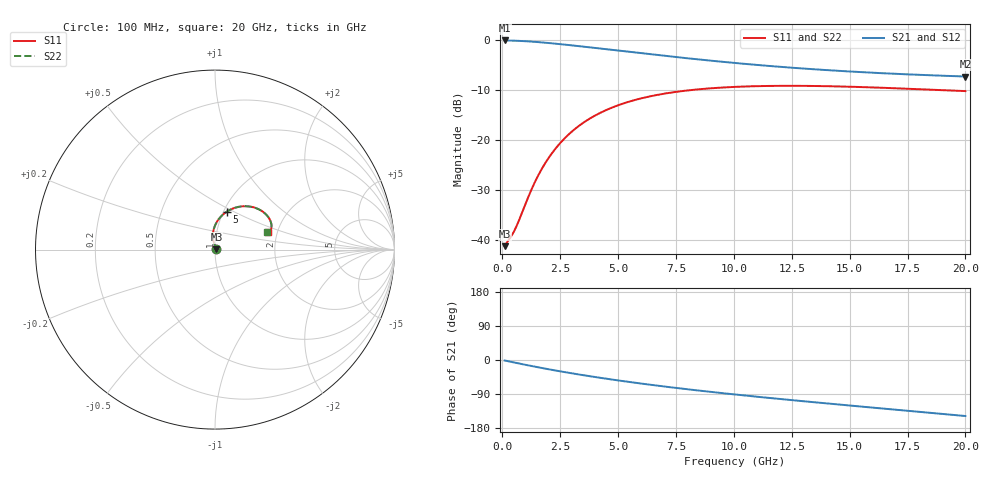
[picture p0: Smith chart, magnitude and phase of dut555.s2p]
! Touchstone file exported from HFSS 2024.1.0
!  File:  C:/UserFiles/LocalFiles/RDL_TSV_Batchsim/temp_RDL_TSV_555_1779750720.aedt
!  Generated:  07:29:39 AM May 26, 2026
!  Design:  RDL_TSV
!  Project:  temp_RDL_TSV_555_1779750720
!  Setup:  Setup1
!  Solution:  Sweep
! Variables:
!  dtsv = 5.55um
!  hbump = 3um
!  htsv = 83.27um
!  ldown = 488.92um
!  lrdl = 113.3um
!  p = 40
!  p1 = 59.33um
!  rhole = 10um
!  subl = 1919.96um
!  t = 450um
!  tdown = 4.87um
!  trdl = 4.19um
!  viad = 10um
!  wdown = 27.38um
!  wrdl = 18.85um
!  xbump = 18um
# GHz S MA R 50.000000
! Terminal data exported
! Port[1] = TM1_1_T1
! Port[2] = TM1_4_T1
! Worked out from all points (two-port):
!   200 points, 100 MHz to 20 GHz, reference 50 ohm
!   highest |S21| = -0.08 dB at 100 MHz (marker M1); lowest = -7.3 dB at 20 GHz (marker M2)
!   |S21| within 3 dB of the highest: start of sweep to 6.865 GHz
!   lowest |S11| = -41.3 dB at 100 MHz (marker M3), VSWR 1.02, Z = 50.8 + j0.232 ohm
!   |S11| at or under -10 dB: start of sweep to 8.174 GHz; 18.82 GHz to end of sweep
!   |S22| runs from -41.3 to -9.2 dB; largest |S21 - S12| = 2.4e-14
!   S11 on the Smith chart (normalised r, x): 100 MHz: 1.02, +0.00; 5 GHz: 1.04, +0.46; 20 GHz: 1.78, +0.38
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0.1  0.008624 15.3  0.9914 -1.3  0.9914 -1.3  0.008624 15.3
! Gamma 0 0 0 0
! Port Impedance 50 0 50 0
0.5  0.01206 55.7  0.9864 -6.4  0.9864 -6.4  0.01206 55.7
0.7  0.01521 72.2  0.9824 -9.0  0.9824 -9.0  0.01521 72.1
1.1  0.02602 91.9  0.9713 -13.9  0.9713 -13.9  0.026 91.9
1.3  0.03337 96.6  0.9643 -16.3  0.9643 -16.3  0.03335 96.5
1.6  0.04626 99.6  0.9525 -19.9  0.9525 -19.9  0.04622 99.6
1.9  0.06083 100.0  0.9394 -23.3  0.9394 -23.3  0.06078 100.0
2.2  0.07657 98.8  0.9254 -26.7  0.9254 -26.7  0.0765 98.8
2.6  0.09859 95.9  0.9058 -31.0  0.9058 -31.0  0.0985 95.9
3  0.121 92.3  0.8857 -35.1  0.8857 -35.1  0.1209 92.2
3.5  0.1487 87.3  0.8602 -40.1  0.8602 -40.1  0.1485 87.3
4.2  0.1852 80.2  0.8249 -46.7  0.8249 -46.7  0.185 80.2
5  0.2223 72.6  0.7857 -53.8  0.7857 -53.8  0.2221 72.6
5.8  0.2538 65.5  0.7482 -60.6  0.7482 -60.6  0.2536 65.5
6.8  0.2854 57.7  0.7046 -68.5  0.7046 -68.5  0.2852 57.7
8.4  0.3201 47.2  0.6427 -80.1  0.6427 -80.1  0.3199 47.2
10.1  0.3402 38.3  0.5882 -91.3  0.5882 -91.3  0.3399 38.3
11.7  0.3477 31.8  0.5465 -101.1  0.5465 -101.1  0.3474 31.8
13.4  0.3472 26.4  0.5111 -111.1  0.5111 -111.1  0.3469 26.4
15  0.3411 22.6  0.4847 -120.1  0.4847 -120.1  0.3408 22.6
16.7  0.331 19.8  0.4624 -129.6  0.4624 -129.6  0.3307 19.8
20  0.3084 18.4  0.4317 -147.8  0.4317 -147.8  0.308 18.4
